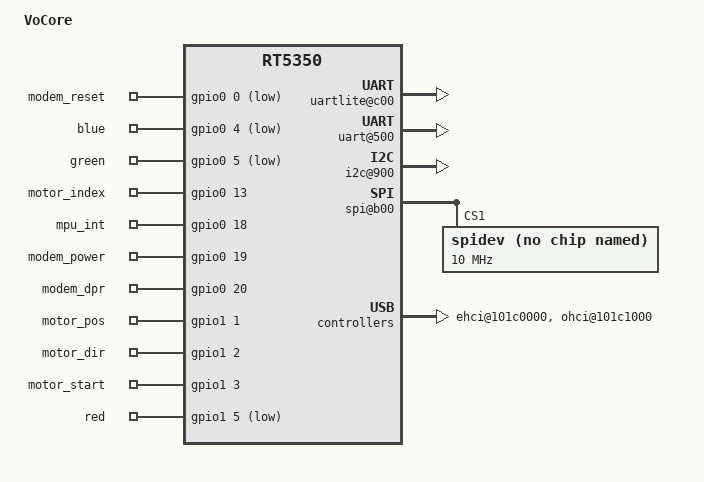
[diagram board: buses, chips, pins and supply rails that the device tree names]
/ {
        palmbus@10000000 {
                uartlite@c00 {
                        status = "okay";
                };
        };
};
/include/ "rt5350.dtsi"

/ {
	compatible = "VoCore", "ralink,rt5350-soc";
	model = "VoCore";


	palmbus@10000000 {
		uart@500 {
			status = "okay";
		};

		gpio1: gpio@660 {
			status = "okay";
		};

		i2c@900 {
			status = "okay";
		};

		spi@b00 {
			status = "okay";

			spidev@1 {
				compatible = "linux,spidev";
				spi-max-frequency = <10000000>;
				reg = <1>;
			};

		};
	};

	pinctrl {
		uartf_pins: uartf {
            uartf {
                ralink,group = "uartf_low";
                ralink,function = "gpio uartf";
            };
        };
		state_default: pinctrl0 {
			gpio {
				ralink,group = "jtag", "led", "spi_cs1", "uartf_high";
				ralink,function = "gpio";
			};
		};
	};


	ethernet@10100000 {
		mtd-mac-address = <&factory 0x4>;
	};

	esw@10110000 {
		ralink,portmap = <0x17>;
	};

	wmac@10180000 {
		ralink,mtd-eeprom = <&factory 0>;
	};

	ehci@101c0000 {
		status = "okay";
	};

	ohci@101c1000 {
		status = "okay";
	};

	gpio-export {
		compatible = "gpio-export";
		#size-cells = <0>;

		/* MODEM_RESET */
		gpio0 {
			gpio-export,name = "modem_reset";
			gpio-export,output = <1>;
			gpios = <&gpio0 0 1>;
		};

		/* BLUE_LED */
		gpio4 {
			gpio-export,name = "blue";
			gpio-export,output = <0>;
			gpios = <&gpio0 4 1>;
		};

		/* GREEN_LED */
		gpio5 {
			gpio-export,name = "green";
			gpio-export,output = <0>;
			gpios = <&gpio0 5 1>;
		};

		/* MOTOR_INDEX */
		gpio13 {
			gpio-export,name = "motor_index";
			gpio-export,direction_may_change = <1>;
			gpios = <&gpio0 13 0>;
		};

		/* MPU_INTERRUPT */
		gpio18 {
			gpio-export,name = "mpu_int";
			gpio-export,direction_may_change = <1>;
			gpios = <&gpio0 18 0>;
		};

		/* MODEM_POWER */
		gpio19 {
			gpio-export,name = "modem_power";
			gpio-export,output = <1>;
			gpios = <&gpio0 19 0>;
		};

		/* MODEM_DPR */
		gpio20 {
			gpio-export,name = "modem_dpr";
			gpio-export,direction_may_change = <1>;
			gpios = <&gpio0 20 0>;
		};

		/* MOTOR_POS */
		gpio23 {
			gpio-export,name = "motor_pos";
			gpio-export,direction_may_change = <1>;
			gpios = <&gpio1 1 0>;
		};

		/* MOTOR_DIR */
		gpio24 {
			gpio-export,name = "motor_dir";
			gpio-export,direction_may_change = <1>;
			gpios = <&gpio1 2 0>;
		};

		/* MOTOR_START */
		gpio25 {
			gpio-export,name = "motor_start";
			gpio-export,direction_may_change = <1>;
			gpios = <&gpio1 3 0>;
		};

		/* RED_LED */
		gpio27 {
			gpio-export,name = "red";
			gpio-export,output = <0>;
			gpios = <&gpio1 5 1>;
		};

	};

	/*gpio-leds {
		compatible = "gpio-leds";

		status {
			label = "vocore:green:status";
			gpios = <&gpio0 10 0>;
		};

	};*/
};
